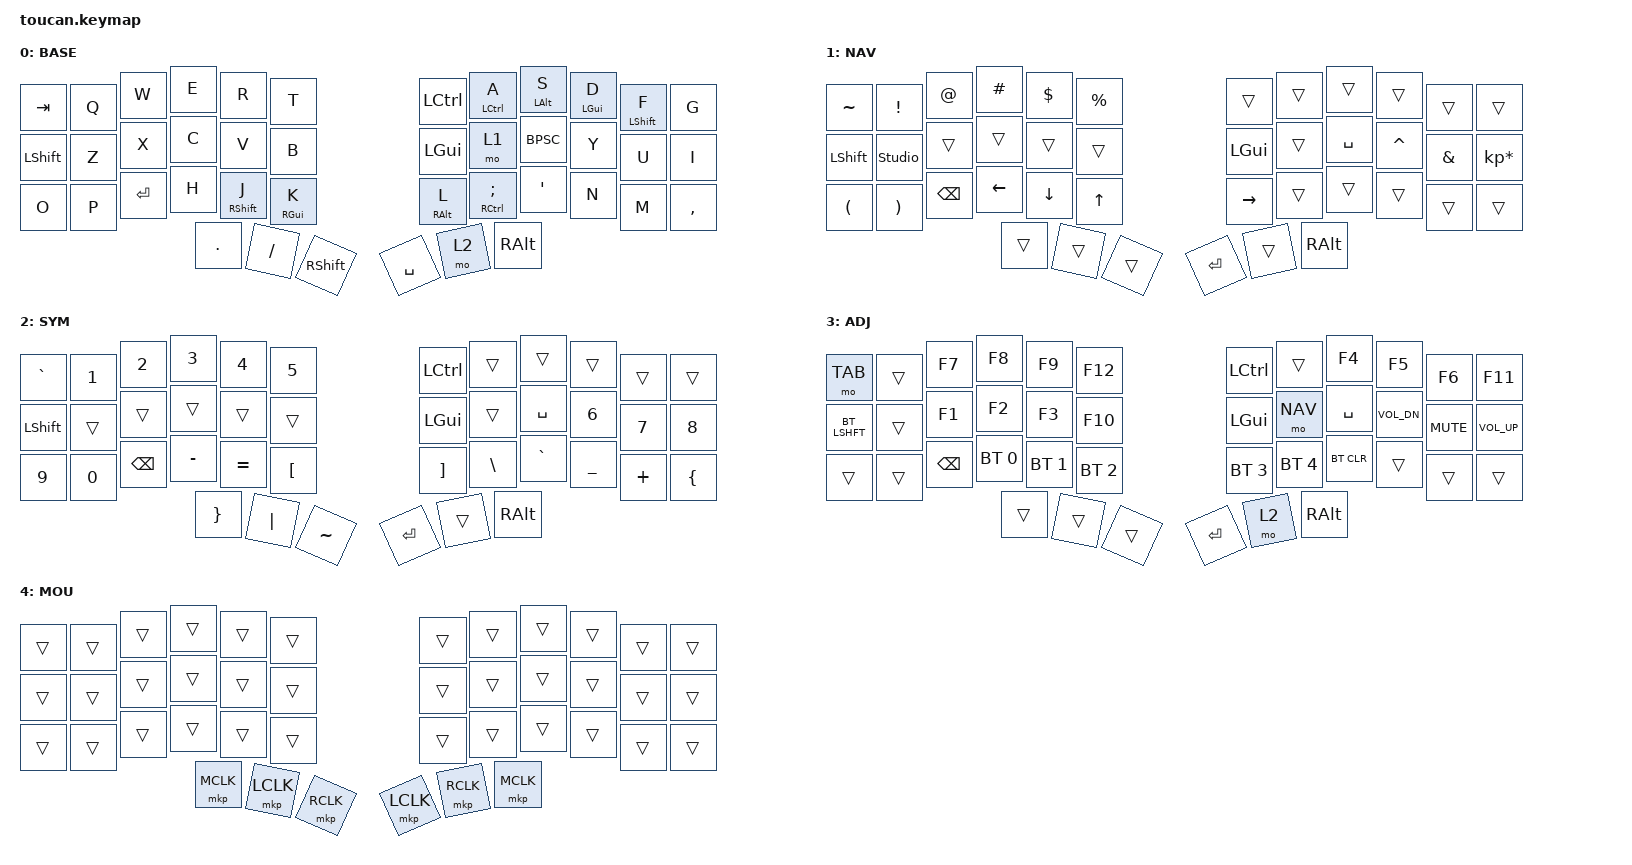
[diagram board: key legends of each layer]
#include <behaviors.dtsi>
#include <dt-bindings/zmk/keys.h>
#include <dt-bindings/zmk/bt.h>
#include <dt-bindings/zmk/outputs.h>
#include <dt-bindings/zmk/pointing.h>

#define KEYS_L 0 1 2 3 4  5  12 13 14 15 16 17  24 25 26 27 28 29  36 37 38 // left hand
#define KEYS_R 6 7 8 9 10 11 18 19 20 21 22 23  30 31 32 33 34 35  39 40 41 // right hand
#define BASE 0
#define NAV  1
#define SYM  2
#define ADJ  3

/ {
    conditional_layers {
        compatible = "zmk,conditional-layers";
        tri_layer {
            if-layers = <1 2>;
            then-layer = <3>;
        };
    };
    behaviors {
        hml: home_row_mod_left {
            compatible = "zmk,behavior-hold-tap";
            #binding-cells = <2>;
            flavor = "balanced";
            require-prior-idle-ms = <150>;
            tapping-term-ms = <280>;
            quick-tap-ms = <175>;
            bindings = <&kp>, <&kp>;

            hold-trigger-key-positions = <KEYS_R>;
            hold-trigger-on-release;
        };

        hmr: home_row_mod_right {
            compatible = "zmk,behavior-hold-tap";
            #binding-cells = <2>;
            flavor = "balanced";
            require-prior-idle-ms = <150>;
            tapping-term-ms = <280>;
            quick-tap-ms = <175>;
            bindings = <&kp>, <&kp>;

            hold-trigger-key-positions = <KEYS_L>;
            hold-trigger-on-release;
        };
    };

    keymap {
        compatible = "zmk,keymap";

        base {
            display-name = "BASE";
            bindings = <
                &kp TAB   &kp Q        &kp W       &kp E       &kp R        &kp T
                &kp LCTRL &hml LCTRL A &hml LALT S &hml LGUI D &hml LSHFT F &kp G
                &kp LSHFT &kp Z        &kp X       &kp C       &kp V        &kp B
                                                              &kp LGUI &mo 1 &kp BPSC

                   &kp Y &kp U  &kp I     &kp O   &kp P    &kp RET
                   &kp H &hmr RSHFT J  &hmr RGUI K     &hmr RALT L   &hmr RCTRL SEMI &kp SQT
                   &kp N &kp M  &kp COMMA &kp DOT &kp FSLH &kp RSHIFT
                   &kp SPACE &mo 2 &kp RALT
            >;
        };

        nav {
            display-name = "NAV";
            bindings = <
                &kp TILDE   &kp EXCL       &kp AT &kp HASH &kp DLLR &kp PRCNT
                &trans      &trans         &trans &trans   &trans   &trans   
                &kp LSHFT   &studio_unlock &trans &trans   &trans   &trans   
                                       &kp LGUI     &trans       &kp SPACE   

                   &kp CARET &kp AMPS  &kp KP_MULTIPLY &kp LPAR  &kp RPAR &kp BSPC
                   &kp LEFT  &kp DOWN  &kp UP          &kp RIGHT &trans   &trans
                   &trans    &trans    &trans          &trans    &trans   &trans
                   &kp RET  &trans   &kp RALT
            >;
        };

        sym {
            display-name = "SYM";
            bindings = <
                &kp GRAVE &kp N1   &kp N2 &kp N3   &kp N4   &kp N5   
                &kp LCTRL &trans   &trans &trans   &trans   &trans   
                &kp LSHFT &trans   &trans &trans   &trans   &trans   
                                          &kp LGUI &trans   &kp SPACE

                   &kp N6    &kp N7    &kp N8   &kp N9   &kp N0   &kp BSPC
                   &kp MINUS &kp EQUAL &kp LBKT &kp RBKT &kp BSLH &kp GRAVE
                   &kp UNDER &kp PLUS  &kp LBRC &kp RBRC &kp PIPE &kp TILDE
                   &kp RET   &trans    &kp RALT
            >;
        };

        adj {
            display-name = "ADJ";
            bindings = <
                &mo TAB   &trans &kp F7 &kp F8 &kp F9 &kp F12
                &kp LCTRL &trans &kp F4 &kp F5 &kp F6 &kp F11  
                &bt LSHFT &trans &kp F1 &kp F2 &kp F3 &kp F10
                                   &kp LGUI &mo NAV &kp SPACE

                   &kp C_VOL_DN &kp C_MUTE   &kp C_VOL_UP &trans       &trans       &kp BSPC
                   &bt BT_SEL 0 &bt BT_SEL 1 &bt BT_SEL 2 &bt BT_SEL 3 &bt BT_SEL 4 &bt BT_CLR  
                   &trans       &trans       &trans       &trans       &trans       &trans
                   &kp RET &mo 2 &kp RALT
            >;
        };

        mouse {
            display-name = "MOU";
            bindings = <
                &trans &trans &trans &trans &trans &trans           &trans &trans &trans &trans &trans &trans
                &trans &trans &trans &trans &trans &trans           &trans &trans &trans &trans &trans &trans
                &trans &trans &trans &trans &trans &trans           &trans &trans &trans &trans &trans &trans
                            &mkp MCLK &mkp LCLK &mkp RCLK           &mkp LCLK &mkp RCLK &mkp MCLK
            >;
        };

        extra_2 {
                status = "reserved";
        };

        extra_3 {
                status = "reserved";
        };
    };
};
